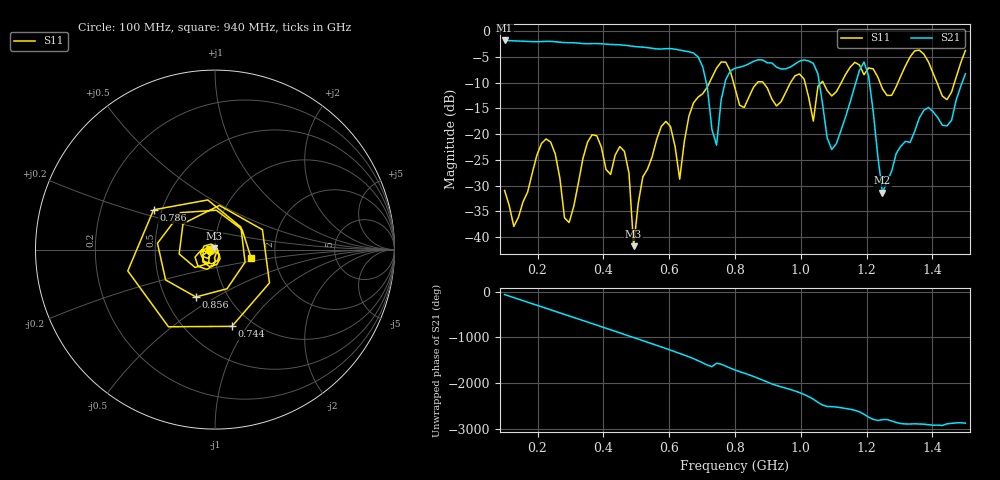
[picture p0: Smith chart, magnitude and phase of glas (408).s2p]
! NanoVNA-App
! Date: 2025-09-25 15:58:39
! Start: 100MHz Stop: 1,5GHz Points: 101
! S-Parameter data: F S11 S21 S12 S22
# Hz S RI R 50
!  Frequency  S11_Real  S11_Imag  S21_Real  S21_Imag  S12_Real  S12_Imag  S22_Real  S22_Imag
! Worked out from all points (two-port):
!   101 points, 100 MHz to 1.5 GHz, reference 50 ohm
!   highest |S21| = -1.80 dB at 100 MHz (marker M1); lowest = -31.4 dB at 1.248 GHz (marker M2)
!   |S21| within 3 dB of the highest: start of sweep to 684.3 MHz
!   lowest |S11| = -41.8 dB at 492 MHz (marker M3), VSWR 1.02, Z = 49.5 + j0.636 ohm
!   |S11| at or under -10 dB: start of sweep to 722.4 MHz; 795.4 MHz to 867.7 MHz (72.26 MHz wide, 8.69 % of centre); 886 MHz to 968.7 MHz (82.68 MHz wide, 8.92 % of centre) (the widest 3 of 7)
!   S12 and S22 are empty: the file has one direction only
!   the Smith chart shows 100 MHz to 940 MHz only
!   S11 on the Smith chart (normalised r, x): 100 MHz: 0.95, -0.01; 744 MHz: 0.81, -0.85; 786 MHz: 0.45, +0.24; 856 MHz: 0.71, -0.41; 940 MHz: 1.50, -0.15
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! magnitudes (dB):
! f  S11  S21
! 100 MHz  -30.9  -1.8
! 128 MHz  -37.9  -1.9
! 226 MHz  -20.9  -2.0
! 296 MHz  -37.2  -2.2
! 338 MHz  -24.7  -2.4
! 464 MHz  -23.3  -2.7
! 492 MHz  -41.8  -3.0
! 576 MHz  -18.5  -3.5
! 632 MHz  -28.7  -3.7
! 702 MHz  -12.1  -6.9
! 744 MHz  -7.2  -22.2
! 786 MHz  -7.8  -7.7
! 800 MHz  -11.1  -7.2
! 856 MHz  -10.9  -5.9
! 940 MHz  -13.7  -7.3
! 996 MHz  -8.3  -5.8
! 1.038 GHz  -17.5  -6.3
! 1.094 GHz  -12.6  -23.0
! 1.192 GHz  -8.5  -6.0
! 1.248 GHz  -11.2  -31.4
! 1.276 GHz  -12.5  -27.2
! 1.5 GHz  -3.8  -8.3
